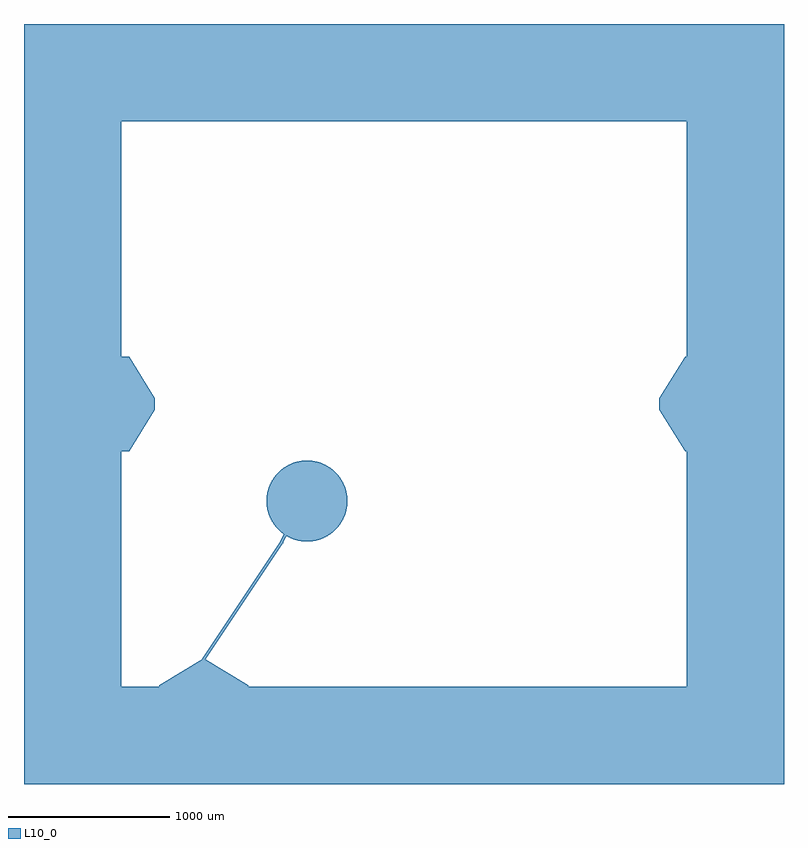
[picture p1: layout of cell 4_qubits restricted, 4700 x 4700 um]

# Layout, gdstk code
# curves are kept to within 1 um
import gdstk
lib = gdstk.Library(unit=1e-6, precision=1e-09)
def P(c, l, *ps):  # polygons
    for p in ps: c.add(gdstk.Polygon(p, *l))
L10_0 = (10, 0)

c_4_qubits_restricted = lib.new_cell('4_qubits restricted')
P(c_4_qubits_restricted, L10_0, [(810,2315),(810,2385),(650,2641),(50,2641),(50,2059),(650,2059)],
  [(4690,2641),(4090,2641),(3930,2385),(3930,2315),(4090,2059),(4690,2059)],
  [(1386,610),(1121,770),(1101,770),(836,610),(836,10),(1386,10)],
  [(4700,0),(4700,4700),(0,4700),(0,2059),(50,2059),(50,2641),(600,2641),(600,4100),(4100,4100),(4100,2641),(4690,2641),(4690,2059),(4100,2059),(4100,600),(1386,600),(1386,10),(836,10),(836,600),(600,600),(600,2059),(50,2059),(0,2059),(0,0)],
  [(1750,1750),(2000,1750),(1998.982,1772.538),(1995.936,1794.893),(1990.887,1816.882),(1983.877,1838.326),(1966.506,1875),(1954.356,1894.01),(1940.541,1911.847),(1921.925,1931.499),(1904.862,1946.259),(1886.538,1959.421),(1867.102,1970.878),(1846.712,1980.536),(1821.22,1989.641),(1799.326,1995.086),(1772.538,1998.982),(1750,2000),(1722.97,1998.534),(1700.674,1995.086),(1674.465,1988.316),(1653.288,1980.536),(1628.929,1968.728),(1605.99,1954.356),(1588.153,1940.541),(1568.501,1921.925),(1550.977,1901.294),(1535.786,1878.888),(1523.106,1854.972),(1513.087,1829.825),(1505.845,1803.743),(1501.466,1777.03),(1500,1750)],
  [(1750,1750),(1500,1750),(1501.018,1727.462),(1504.064,1705.107),(1509.113,1683.118),(1516.123,1661.674),(1533.494,1625),(1545.644,1605.99),(1559.459,1588.153),(1578.075,1568.501),(1595.138,1553.741),(1613.462,1540.579),(1632.898,1529.122),(1653.288,1519.464),(1678.78,1510.359),(1700.674,1504.914),(1727.462,1501.018),(1750,1500),(1777.03,1501.466),(1799.326,1504.914),(1825.535,1511.684),(1846.712,1519.464),(1871.071,1531.272),(1894.01,1545.644),(1911.847,1559.459),(1931.499,1578.075),(1949.023,1598.706),(1964.214,1621.112),(1976.894,1645.028),(1986.913,1670.175),(1994.155,1696.257),(1998.534,1722.97),(2000,1750)],
  [(810,2315),(810,2385),(650,2641),(50,2641),(50,2059),(650,2059)],
  [(4690,2641),(4090,2641),(3930,2385),(3930,2315),(4090,2059),(4690,2059)],
  [(1386,610),(1121,770),(1101,770),(836,610),(836,10),(1386,10)],
  [(4700,0),(4700,4700),(0,4700),(0,2059),(50,2059),(50,2641),(600,2641),(600,4100),(4100,4100),(4100,2641),(4690,2641),(4690,2059),(4100,2059),(4100,600),(1386,600),(1386,10),(836,10),(836,600),(600,600),(600,2059),(50,2059),(0,2059),(0,0)],
  [(1750,1750),(2000,1750),(1998.982,1772.538),(1995.936,1794.893),(1990.887,1816.882),(1983.877,1838.326),(1966.506,1875),(1954.356,1894.01),(1940.541,1911.847),(1921.925,1931.499),(1904.862,1946.259),(1886.538,1959.421),(1867.102,1970.878),(1846.712,1980.536),(1821.22,1989.641),(1799.326,1995.086),(1772.538,1998.982),(1750,2000),(1722.97,1998.534),(1700.674,1995.086),(1674.465,1988.316),(1653.288,1980.536),(1628.929,1968.728),(1605.99,1954.356),(1588.153,1940.541),(1568.501,1921.925),(1550.977,1901.294),(1535.786,1878.888),(1523.106,1854.972),(1513.087,1829.825),(1505.845,1803.743),(1501.466,1777.03),(1500,1750)],
  [(1750,1750),(1500,1750),(1501.018,1727.462),(1504.064,1705.107),(1509.113,1683.118),(1516.123,1661.674),(1533.494,1625),(1545.644,1605.99),(1559.459,1588.153),(1578.075,1568.501),(1595.138,1553.741),(1613.462,1540.579),(1632.898,1529.122),(1653.288,1519.464),(1678.78,1510.359),(1700.674,1504.914),(1727.462,1501.018),(1750,1500),(1777.03,1501.466),(1799.326,1504.914),(1825.535,1511.684),(1846.712,1519.464),(1871.071,1531.272),(1894.01,1545.644),(1911.847,1559.459),(1931.499,1578.075),(1949.023,1598.706),(1964.214,1621.112),(1976.894,1645.028),(1986.913,1670.175),(1994.155,1696.257),(1998.534,1722.97),(2000,1750)],
  [(1600.803,1488.244),(1624.174,1537.65),(1606,1546),(1584.151,1499.322),(1102.674,775.539),(1119.326,764.461)])

lib.write_gds('4_qubits_restricted.gds')
